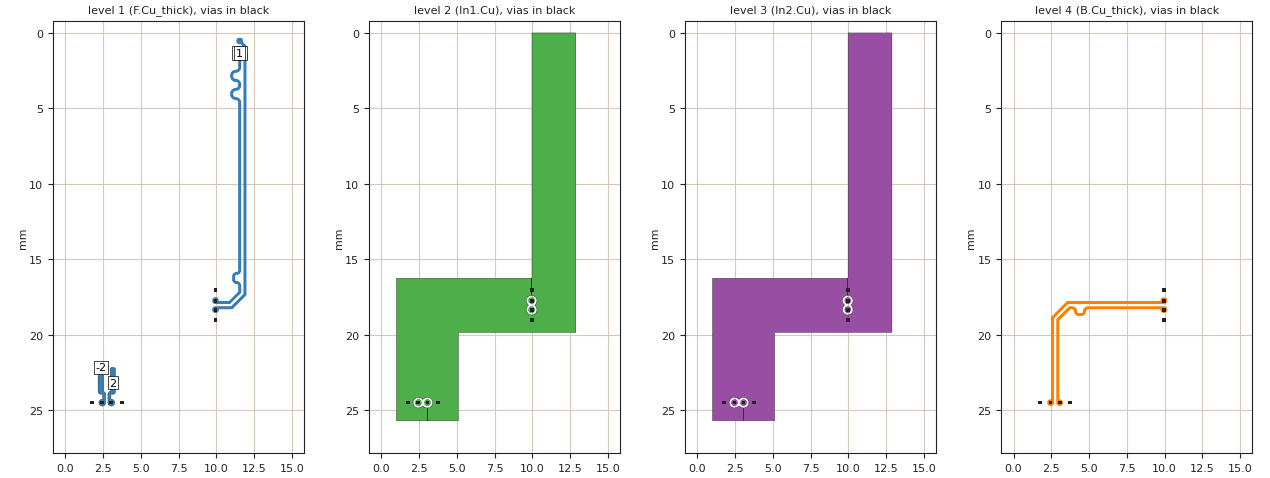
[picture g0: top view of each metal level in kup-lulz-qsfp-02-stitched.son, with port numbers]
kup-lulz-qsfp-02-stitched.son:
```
FTYP SONPROJ 19 ! Sonnet Project File
VER 18.56
HEADER
LIC antikernel2.1.52448
DAT 02/23/2024 10:11:04
BUILT_BY_CREATED dxf 18.56 02/22/2024 23:40:04
BUILT_BY_SAVED sonnet 18.56
MDATE 02/23/2024 10:11:04
HDATE 02/23/2024 10:11:04
ANN Created by dxfgeo, Sonnet Software Inc.
END HEADER
DIM
ANG DEG
CAP PF
CON /OH
FREQ GHZ
IND NH
LNG MM
RES OH
END DIM
CONTROL
VARSWP
OPTIONS  -dj
SPEED 1
CACHE_ABS 2
Q_ACC N
END CONTROL
GEO
TMET "Free Space" 0 FREESPACE 376.7303136 0 0 0
BMET "Free Space" 0 FREESPACE 376.7303136 0 0 0
MET "Copper_1oz+plated_thick_up" 1 TMM 58000000 0.5 0.0432 2
MET "Copper_1oz+plated_thin" 4 NOR 58000000 0.5 0.0432 
MET "Copper_0.5oz_thin" 2 NOR 58000000 0.5 0.0175 
MET "Copper_1oz+plated_thick_down" 3 TMM 58000000 0.5 0.0432 2 CDVY TDWN
BOX 6 15 27 1200 2160 20 0
      10 1 1 0 0 0 0 "Air"
      0.05 3.5 1 0.02 0 0 0 "Soldermask"
      0.2021 3.61 1 0.0092 0 0 0 "Isola_FR408HR"
      1.1938 3.61 1 0.0092 0 0 0 "Isola_FR408HR"
      0.2021 3.61 1 0.0092 0 0 0 "Isola_FR408HR"
      0.05 3.5 1 0.02 0 0 0 "Soldermask"
      10 1 1 0 0 0 0 "Air"
TECHLAY METAL F.Cu_thick L1D0 -1 -65534 CAD F.Cu drawing 
1 0 0 N 1844 1 1 100 100 0 0 0 Y
END
END
TECHLAY VIA Via1 L5D0 -7 -65534 CAD Via1 drawing 
VIA POLYGON
1 0 -1 N 2080 1 1 100 100 0 0 0 Y
TOLEVEL 4 RING NOCOVERS
END
END
TECHLAY METAL F.Cu_thin <UNSPECIFIED> -2 -65534 CAD F.Cu_thin drawing 
1 0 1 N 1848 1 1 100 100 0 0 0 Y
END
END
TECHLAY METAL In1.Cu L2D0 -3 -65534 CAD In1.Cu drawing 
2 0 2 N 1851 1 1 100 100 0 0 0 Y
END
END
TECHLAY METAL In2.Cu L3D0 -4 -65534 CAD In2.Cu drawing 
3 0 2 N 1854 1 1 100 100 0 0 0 Y
END
END
TECHLAY METAL B.Cu_thick L4D0 -5 -65534 CAD B.Cu drawing 
4 0 3 N 1857 1 1 100 100 0 0 0 Y
END
END
TECHLAY METAL B.Cu_thin <UNSPECIFIED> -6 -65534 CAD B.Cu_thin drawing 
4 0 1 N 1859 1 1 100 100 0 0 0 Y
END
END
LORGN 0 27 U 
POR1 CUP Auto
GNDREF AUTO
TERMW FEED
POLY 2018 1
346
-1 100 0 0 0 11.55 1.325 
CUPGRP "Auto" LOCAL
ID 2076
END
POR1 CUP Auto
GNDREF AUTO
TERMW FEED
POLY 2019 1
76
1 100 0 0 0 11.55 0.325 
CUPGRP "Auto" LOCAL
ID 2077
END
POR1 CUP Auto
GNDREF AUTO
TERMW FEED
POLY 2025 1
39
-2 100 0 0 0 2.35 22.15 
CUPGRP "Auto" LOCAL
ID 2078
END
POR1 CUP Auto
GNDREF AUTO
TERMW FEED
POLY 2026 1
52
2 100 0 0 0 3.15 22.15 
CUPGRP "Auto" LOCAL
ID 2079
END
NUM 24
1 726 0 N 2018 1 1 100 100 0 0 0 Y
TLAYNAM F.Cu_thick INH
10.893 17.9495
10.902 17.9475
10.912 17.9445
10.921 17.9415
10.929 17.9365
10.938 17.9305
10.945 17.9245
11.625 17.2455
11.631 17.2375
11.641 17.2215
11.641 17.2205
11.642 17.2175
11.644 17.2125
11.645 17.2115
11.648 17.2025
11.65 17.1925
11.65 16.7205
11.649 16.7115
11.644 16.6615
11.629 16.6145
11.626 16.6055
11.621 16.5975
11.615 16.5885
11.602 16.5635
11.596 16.5545
11.59 16.5475
11.583 16.5405
11.577 16.5325
11.576 16.5315
11.572 16.5245
11.565 16.5175
11.559 16.5105
11.558 16.5105
11.551 16.5045
11.536 16.4925
11.536 16.4915
11.529 16.4845
11.521 16.4785
11.513 16.4735
11.47 16.4495
11.461 16.4465
11.451 16.4435
11.447 16.4425
11.442 16.4415
11.432 16.4385
11.423 16.4355
11.413 16.4325
11.404 16.4305
11.394 16.4295
11.365 16.4265
11.355 16.4255
11.328 16.4225
11.315 16.4185
11.295 16.4075
11.278 16.3935
11.266 16.3785
11.26 16.3685
11.252 16.3445
11.25 16.3205
11.25 16.1305
11.253 16.1035
11.257 16.0905
11.268 16.0705
11.282 16.0535
11.297 16.0415
11.307 16.0355
11.331 16.0275
11.355 16.0255
11.365 16.0245
11.394 16.0215
11.414 16.0195
11.461 16.0045
11.47 16.0015
11.478 15.9965
11.487 15.9905
11.512 15.9775
11.521 15.9715
11.528 15.9655
11.535 15.9585
11.543 15.9525
11.544 15.9515
11.551 15.9475
11.558 15.9405
11.565 15.9345
11.565 15.9335
11.571 15.9265
11.583 15.9115
11.584 15.9115
11.591 15.9045
11.597 15.8965
11.602 15.8885
11.626 15.8455
11.629 15.8365
11.632 15.8265
11.633 15.8225
11.634 15.8175
11.637 15.8075
11.64 15.7985
11.643 15.7885
11.645 15.7795
11.646 15.7695
11.649 15.7405
11.65 15.7305
11.65 4.5945
11.649 4.5895
11.646 4.5565
11.645 4.5435
11.644 4.5415
11.644 4.5365
11.643 4.5345
11.642 4.5285
11.641 4.5245
11.64 4.5225
11.633 4.4985
11.633 4.4945
11.63 4.4845
11.627 4.4755
11.604 4.4245
11.599 4.4165
11.593 4.4085
11.592 4.4075
11.574 4.3825
11.573 4.3815
11.569 4.3745
11.563 4.3665
11.553 4.3565
11.531 4.3355
11.53 4.3345
11.525 4.3285
11.517 4.3215
11.471 4.2895
11.463 4.2845
11.454 4.2805
11.447 4.2785
11.444 4.2775
11.426 4.2685
11.425 4.2675
11.417 4.2645
11.416 4.2635
11.414 4.2625
11.405 4.2595
11.399 4.2585
11.367 4.2495
11.365 4.2485
11.353 4.2455
11.347 4.2445
11.343 4.2445
11.334 4.2435
11.3 4.2405
11.29 4.2395
11.253 4.2355
11.221 4.2265
11.193 4.2105
11.17 4.1915
11.152 4.1695
11.134 4.1375
11.126 4.1085
11.122 4.0705
11.122 4.0055
11.125 3.9745
11.133 3.9445
11.143 3.9235
11.16 3.8985
11.181 3.8775
11.201 3.8635
11.233 3.8495
11.257 3.8425
11.289 3.8395
11.29 3.8395
11.346 3.8345
11.348 3.8335
11.353 3.8335
11.355 3.8325
11.361 3.8315
11.365 3.8305
11.367 3.8295
11.391 3.8225
11.395 3.8225
11.405 3.8195
11.414 3.8165
11.465 3.7935
11.473 3.7885
11.481 3.7825
11.482 3.7815
11.507 3.7635
11.508 3.7625
11.515 3.7585
11.523 3.7525
11.533 3.7425
11.554 3.7205
11.555 3.7195
11.561 3.7145
11.568 3.7065
11.6 3.6605
11.605 3.6525
11.609 3.6435
11.611 3.6365
11.612 3.6335
11.621 3.6155
11.622 3.6145
11.625 3.6065
11.626 3.6055
11.627 3.6035
11.63 3.5945
11.631 3.5885
11.64 3.5565
11.641 3.5545
11.644 3.5425
11.645 3.5365
11.645 3.5325
11.646 3.5235
11.649 3.4905
11.65 3.4805
11.65 3.3945
11.649 3.3895
11.646 3.3565
11.645 3.3435
11.644 3.3415
11.644 3.3365
11.643 3.3345
11.642 3.3285
11.641 3.3245
11.64 3.3225
11.633 3.2985
11.633 3.2945
11.63 3.2845
11.627 3.2755
11.604 3.2245
11.599 3.2165
11.593 3.2085
11.592 3.2075
11.574 3.1825
11.573 3.1815
11.569 3.1745
11.563 3.1665
11.553 3.1565
11.531 3.1355
11.53 3.1345
11.525 3.1285
11.517 3.1215
11.471 3.0895
11.463 3.0845
11.454 3.0805
11.447 3.0785
11.444 3.0775
11.426 3.0685
11.425 3.0675
11.417 3.0645
11.416 3.0635
11.414 3.0625
11.405 3.0595
11.399 3.0585
11.367 3.0495
11.365 3.0485
11.353 3.0455
11.347 3.0445
11.343 3.0445
11.334 3.0435
11.3 3.0405
11.29 3.0395
11.253 3.0355
11.221 3.0265
11.193 3.0105
11.17 2.9915
11.152 2.9695
11.134 2.9375
11.126 2.9085
11.122 2.8705
11.122 2.8055
11.125 2.7745
11.133 2.7445
11.143 2.7235
11.16 2.6985
11.181 2.6775
11.201 2.6635
11.233 2.6495
11.257 2.6425
11.289 2.6395
11.29 2.6395
11.346 2.6345
11.348 2.6335
11.353 2.6335
11.355 2.6325
11.361 2.6315
11.365 2.6305
11.367 2.6295
11.391 2.6225
11.395 2.6225
11.405 2.6195
11.414 2.6165
11.465 2.5935
11.473 2.5885
11.481 2.5825
11.482 2.5815
11.507 2.5635
11.508 2.5625
11.515 2.5585
11.523 2.5525
11.533 2.5425
11.554 2.5205
11.555 2.5195
11.561 2.5145
11.568 2.5065
11.6 2.4605
11.605 2.4525
11.609 2.4435
11.611 2.4365
11.612 2.4335
11.621 2.4155
11.622 2.4145
11.625 2.4065
11.626 2.4055
11.627 2.4035
11.63 2.3945
11.631 2.3885
11.64 2.3565
11.641 2.3545
11.644 2.3425
11.645 2.3365
11.645 2.3325
11.646 2.3235
11.649 2.2905
11.65 2.2805
11.65 1.7265
11.666 1.7185
11.684 1.7065
11.701 1.6925
11.717 1.6765
11.731 1.6595
11.743 1.6415
11.753 1.6215
11.762 1.6015
11.768 1.5805
11.773 1.5585
11.775 1.5365
11.775 1.5145
11.773 1.4925
11.768 1.4705
11.762 1.4495
11.753 1.4295
11.743 1.4095
11.731 1.3915
11.717 1.3745
11.701 1.3585
11.684 1.3445
11.666 1.3325
11.651 1.325
11.449 1.325
11.434 1.3325
11.416 1.3445
11.399 1.3585
11.383 1.3745
11.369 1.3915
11.357 1.4095
11.347 1.4295
11.338 1.4495
11.332 1.4705
11.327 1.4925
11.325 1.5145
11.325 1.5365
11.327 1.5585
11.332 1.5805
11.338 1.6015
11.347 1.6215
11.357 1.6415
11.369 1.6595
11.383 1.6765
11.399 1.6925
11.416 1.7065
11.434 1.7185
11.45 1.7265
11.45 2.2725
11.447 2.3045
11.44 2.3285
11.426 2.3605
11.412 2.3805
11.391 2.4015
11.366 2.4185
11.345 2.4285
11.315 2.4365
11.284 2.4395
11.282 2.4395
11.273 2.4405
11.238 2.4435
11.229 2.4445
11.225 2.4445
11.219 2.4455
11.207 2.4485
11.205 2.4495
11.173 2.4585
11.167 2.4595
11.158 2.4625
11.156 2.4635
11.155 2.4645
11.147 2.4675
11.146 2.4685
11.128 2.4775
11.125 2.4785
11.118 2.4805
11.109 2.4845
11.101 2.4895
11.055 2.5215
11.047 2.5285
11.042 2.5345
11.041 2.5355
11.019 2.5565
11.009 2.5665
11.003 2.5745
10.999 2.5815
10.998 2.5825
10.98 2.6075
10.979 2.6085
10.973 2.6165
10.968 2.6245
10.945 2.6755
10.942 2.6845
10.939 2.6945
10.939 2.6985
10.932 2.7225
10.931 2.7245
10.93 2.7285
10.929 2.7345
10.928 2.7365
10.928 2.7415
10.927 2.7435
10.926 2.7565
10.923 2.7895
10.922 2.7945
10.922 2.8805
10.923 2.8905
10.927 2.9315
10.927 2.9325
10.928 2.9425
10.93 2.9515
10.948 3.0105
10.951 3.0195
10.956 3.0285
10.972 3.0565
10.973 3.0585
10.975 3.0655
10.98 3.0735
10.986 3.0825
10.992 3.0895
11.018 3.1215
11.019 3.1225
11.025 3.1295
11.032 3.1365
11.039 3.1425
11.041 3.1445
11.047 3.1485
11.072 3.1695
11.079 3.1755
11.088 3.1815
11.142 3.2105
11.151 3.2145
11.16 3.2175
11.166 3.2185
11.191 3.2255
11.198 3.2275
11.2 3.2285
11.21 3.2315
11.219 3.2335
11.281 3.2395
11.283 3.2395
11.315 3.2425
11.339 3.2495
11.371 3.2635
11.391 3.2775
11.412 3.2985
11.429 3.3235
11.439 3.3445
11.447 3.3745
11.45 3.4055
11.45 3.4725
11.447 3.5045
11.44 3.5285
11.426 3.5605
11.412 3.5805
11.391 3.6015
11.366 3.6185
11.345 3.6285
11.315 3.6365
11.284 3.6395
11.282 3.6395
11.273 3.6405
11.238 3.6435
11.229 3.6445
11.225 3.6445
11.219 3.6455
11.207 3.6485
11.205 3.6495
11.173 3.6585
11.167 3.6595
11.158 3.6625
11.156 3.6635
11.155 3.6645
11.147 3.6675
11.146 3.6685
11.128 3.6775
11.125 3.6785
11.118 3.6805
11.109 3.6845
11.101 3.6895
11.055 3.7215
11.047 3.7285
11.042 3.7345
11.041 3.7355
11.019 3.7565
11.009 3.7665
11.003 3.7745
10.999 3.7815
10.998 3.7825
10.98 3.8075
10.979 3.8085
10.973 3.8165
10.968 3.8245
10.945 3.8755
10.942 3.8845
10.939 3.8945
10.939 3.8985
10.932 3.9225
10.931 3.9245
10.93 3.9285
10.929 3.9345
10.928 3.9365
10.928 3.9415
10.927 3.9435
10.926 3.9565
10.923 3.9895
10.922 3.9945
10.922 4.0805
10.923 4.0905
10.927 4.1315
10.927 4.1325
10.928 4.1425
10.93 4.1515
10.948 4.2105
10.951 4.2195
10.956 4.2285
10.972 4.2565
10.973 4.2585
10.975 4.2655
10.98 4.2735
10.986 4.2825
10.992 4.2895
11.018 4.3215
11.019 4.3225
11.025 4.3295
11.032 4.3365
11.039 4.3425
11.041 4.3445
11.047 4.3485
11.072 4.3695
11.079 4.3755
11.088 4.3815
11.142 4.4105
11.151 4.4145
11.16 4.4175
11.166 4.4185
11.191 4.4255
11.198 4.4275
11.2 4.4285
11.21 4.4315
11.219 4.4335
11.281 4.4395
11.283 4.4395
11.315 4.4425
11.339 4.4495
11.371 4.4635
11.391 4.4775
11.412 4.4985
11.429 4.5235
11.439 4.5445
11.447 4.5745
11.45 4.6055
11.45 15.7205
11.448 15.7445
11.44 15.7685
11.434 15.7785
11.422 15.7935
11.405 15.8075
11.385 15.8185
11.372 15.8225
11.345 15.8255
11.335 15.8265
11.306 15.8295
11.296 15.8305
11.287 15.8325
11.277 15.8355
11.268 15.8385
11.258 15.8415
11.253 15.8425
11.249 15.8435
11.239 15.8465
11.23 15.8495
11.187 15.8735
11.179 15.8785
11.171 15.8845
11.164 15.8915
11.164 15.8925
11.149 15.9045
11.142 15.9105
11.141 15.9105
11.135 15.9175
11.128 15.9245
11.124 15.9315
11.123 15.9325
11.117 15.9405
11.11 15.9475
11.104 15.9545
11.098 15.9635
11.085 15.9885
11.079 15.9975
11.074 16.0055
11.071 16.0145
11.056 16.0615
11.054 16.0815
11.051 16.1105
11.05 16.1205
11.05 16.3305
11.051 16.3405
11.054 16.3695
11.055 16.3795
11.057 16.3885
11.06 16.3985
11.063 16.4075
11.066 16.4175
11.067 16.4225
11.068 16.4265
11.071 16.4365
11.074 16.4455
11.098 16.4885
11.103 16.4965
11.109 16.5045
11.116 16.5115
11.117 16.5115
11.129 16.5265
11.135 16.5335
11.135 16.5345
11.142 16.5405
11.149 16.5475
11.156 16.5515
11.157 16.5525
11.165 16.5585
11.172 16.5655
11.179 16.5715
11.188 16.5775
11.213 16.5905
11.222 16.5965
11.23 16.6015
11.239 16.6045
11.286 16.6195
11.306 16.6215
11.335 16.6245
11.345 16.6255
11.369 16.6275
11.393 16.6355
11.403 16.6415
11.418 16.6535
11.432 16.6705
11.443 16.6905
11.447 16.7035
11.45 16.7305
11.45 17.1365
10.837 17.7505
10.174 17.7505
10.175 17.7365
10.175 17.7145
10.173 17.6925
10.168 17.6705
10.162 17.6495
10.153 17.6295
10.143 17.6095
10.131 17.5915
10.117 17.5745
10.101 17.5585
10.084 17.5445
10.066 17.5325
10.046 17.5225
10.026 17.5135
10.005 17.5075
9.983 17.5025
9.961 17.5005
9.939 17.5005
9.917 17.5025
9.895 17.5075
9.874 17.5135
9.854 17.5225
9.834 17.5325
9.816 17.5445
9.799 17.5585
9.783 17.5745
9.769 17.5915
9.757 17.6095
9.747 17.6295
9.738 17.6495
9.732 17.6705
9.727 17.6925
9.725 17.7145
9.725 17.7365
9.727 17.7585
9.732 17.7805
9.738 17.8015
9.747 17.8215
9.757 17.8415
9.769 17.8595
9.783 17.8765
9.799 17.8925
9.816 17.9065
9.834 17.9185
9.854 17.9285
9.874 17.9375
9.895 17.9435
9.917 17.9485
9.939 17.9505
9.961 17.9505
9.983 17.9485
10.005 17.9435
10.026 17.9375
10.032 17.9415
10.041 17.9445
10.051 17.9475
10.06 17.9495
10.07 17.9505
10.883 17.9505
10.893 17.9495
END
1 173 0 N 2019 1 1 100 100 0 0 0 Y
TLAYNAM F.Cu_thick INH
9.983 18.5485
10.005 18.5435
10.026 18.5375
10.046 18.5285
10.066 18.5185
10.084 18.5065
10.101 18.4925
10.117 18.4765
10.131 18.4595
10.143 18.4415
10.153 18.4215
10.162 18.4015
10.168 18.3805
10.173 18.3585
10.175 18.3365
10.175 18.3145
10.174 18.3005
11.027 18.3005
11.037 18.2995
11.047 18.2975
11.065 18.2915
11.073 18.2865
11.082 18.2805
11.09 18.2745
11.974 17.3895
11.98 17.3825
11.986 17.3745
11.991 17.3655
11.994 17.3565
11.997 17.3465
11.999 17.3375
12 17.3275
12 1.8525
12.06 1.7925
12.067 1.7865
12.074 1.7795
12.074 1.7785
12.08 1.7715
12.086 1.7635
12.091 1.7555
12.094 1.7465
12.097 1.7365
12.099 1.7265
12.1 1.7175
12.1 1.3345
12.099 1.3245
12.097 1.3155
12.094 1.3055
12.091 1.2965
12.086 1.2885
12.08 1.2795
12.074 1.2725
12 1.1985
12 0.8705
11.999 0.8605
11.997 0.8515
11.994 0.8415
11.991 0.8325
11.986 0.8245
11.98 0.8155
11.974 0.8085
11.763 0.5975
11.768 0.5805
11.773 0.5585
11.775 0.5365
11.775 0.5145
11.773 0.4925
11.768 0.4705
11.762 0.4495
11.753 0.4295
11.743 0.4095
11.731 0.3915
11.717 0.3745
11.701 0.3585
11.684 0.3445
11.666 0.3325
11.651 0.325
11.449 0.325
11.434 0.3325
11.416 0.3445
11.399 0.3585
11.383 0.3745
11.369 0.3915
11.357 0.4095
11.347 0.4295
11.338 0.4495
11.332 0.4705
11.327 0.4925
11.325 0.5145
11.325 0.5365
11.327 0.5585
11.332 0.5805
11.338 0.6015
11.347 0.6215
11.357 0.6415
11.369 0.6595
11.383 0.6765
11.399 0.6925
11.416 0.7065
11.434 0.7185
11.454 0.7285
11.474 0.7375
11.495 0.7435
11.517 0.7485
11.539 0.7505
11.561 0.7505
11.583 0.7485
11.605 0.7435
11.622 0.7385
11.8 0.9165
11.8 1.2445
11.801 1.2545
11.803 1.2635
11.806 1.2735
11.809 1.2825
11.814 1.2905
11.82 1.2995
11.826 1.3065
11.9 1.3805
11.9 1.6705
11.826 1.7445
11.82 1.7515
11.814 1.7605
11.809 1.7685
11.806 1.7775
11.803 1.7875
11.801 1.7965
11.8 1.8065
11.8 17.2815
10.98 18.1005
10.07 18.1005
10.06 18.1015
10.05 18.1035
10.032 18.1095
10.026 18.1135
10.025 18.1135
10.005 18.1075
9.983 18.1025
9.961 18.1005
9.939 18.1005
9.917 18.1025
9.895 18.1075
9.874 18.1135
9.854 18.1225
9.834 18.1325
9.816 18.1445
9.799 18.1585
9.783 18.1745
9.769 18.1915
9.757 18.2095
9.747 18.2295
9.738 18.2495
9.732 18.2705
9.727 18.2925
9.725 18.3145
9.725 18.3365
9.727 18.3585
9.732 18.3805
9.738 18.4015
9.747 18.4215
9.757 18.4415
9.769 18.4595
9.783 18.4765
9.799 18.4925
9.816 18.5065
9.834 18.5185
9.854 18.5285
9.874 18.5375
9.895 18.5435
9.917 18.5485
9.939 18.5505
9.961 18.5505
9.983 18.5485
END
1 96 0 N 2025 1 1 100 100 0 0 0 Y
TLAYNAM F.Cu_thick INH
2.483 24.7045
2.505 24.6995
2.526 24.6935
2.546 24.6845
2.566 24.6745
2.584 24.6625
2.601 24.6485
2.617 24.6325
2.631 24.6155
2.643 24.5975
2.653 24.5775
2.662 24.5575
2.668 24.5365
2.673 24.5145
2.675 24.4925
2.675 24.4705
2.673 24.4485
2.668 24.4265
2.662 24.4055
2.666 24.3995
2.669 24.3905
2.672 24.3805
2.674 24.3715
2.675 24.3615
2.675 23.8955
2.674 23.8855
2.672 23.8765
2.669 23.8665
2.666 23.8575
2.661 23.8495
2.655 23.8405
2.649 23.8335
2.525 23.7095
2.525 22.3005
2.522 22.2665
2.512 22.2335
2.496 22.2035
2.474 22.1765
2.447 22.1545
2.4385625 22.15
2.2614375 22.15
2.253 22.1545
2.226 22.1765
2.204 22.2035
2.188 22.2335
2.178 22.2665
2.175 22.3005
2.175 23.7505
2.178 23.7845
2.188 23.8175
2.204 23.8475
2.226 23.8745
2.253 23.8965
2.283 23.9125
2.316 23.9225
2.35 23.9255
2.384 23.9225
2.417 23.9125
2.436 23.9025
2.475 23.9415
2.475 24.2575
2.461 24.2565
2.439 24.2565
2.417 24.2585
2.395 24.2635
2.374 24.2695
2.354 24.2785
2.334 24.2885
2.316 24.3005
2.299 24.3145
2.283 24.3305
2.269 24.3475
2.257 24.3655
2.247 24.3855
2.238 24.4055
2.232 24.4265
2.227 24.4485
2.225 24.4705
2.225 24.4925
2.227 24.5145
2.232 24.5365
2.238 24.5575
2.247 24.5775
2.257 24.5975
2.269 24.6155
2.283 24.6325
2.299 24.6485
2.316 24.6625
2.334 24.6745
2.354 24.6845
2.374 24.6935
2.395 24.6995
2.417 24.7045
2.439 24.7065
2.461 24.7065
2.483 24.7045
END
1 96 0 N 2026 1 1 100 100 0 0 0 Y
TLAYNAM F.Cu_thick INH
3.083 24.7045
3.105 24.6995
3.126 24.6935
3.146 24.6845
3.166 24.6745
3.184 24.6625
3.201 24.6485
3.217 24.6325
3.231 24.6155
3.243 24.5975
3.253 24.5775
3.262 24.5575
3.268 24.5365
3.273 24.5145
3.275 24.4925
3.275 24.4705
3.273 24.4485
3.268 24.4265
3.262 24.4055
3.253 24.3855
3.243 24.3655
3.231 24.3475
3.217 24.3305
3.201 24.3145
3.184 24.3005
3.166 24.2885
3.146 24.2785
3.126 24.2695
3.105 24.2635
3.083 24.2585
3.061 24.2565
3.039 24.2565
3.025 24.2575
3.025 23.9415
3.064 23.9025
3.083 23.9125
3.116 23.9225
3.15 23.9255
3.184 23.9225
3.217 23.9125
3.247 23.8965
3.274 23.8745
3.296 23.8475
3.312 23.8175
3.322 23.7845
3.325 23.7505
3.325 22.3005
3.322 22.2665
3.312 22.2335
3.296 22.2035
3.274 22.1765
3.247 22.1545
3.2385625 22.15
3.0614375 22.15
3.053 22.1545
3.026 22.1765
3.004 22.2035
2.988 22.2335
2.978 22.2665
2.975 22.3005
2.975 23.7095
2.851 23.8335
2.845 23.8405
2.839 23.8495
2.834 23.8575
2.831 23.8665
2.828 23.8765
2.826 23.8855
2.825 23.8955
2.825 24.3615
2.826 24.3715
2.828 24.3805
2.831 24.3905
2.834 24.3995
2.838 24.4055
2.832 24.4265
2.827 24.4485
2.825 24.4705
2.825 24.4925
2.827 24.5145
2.832 24.5365
2.838 24.5575
2.847 24.5775
2.857 24.5975
2.869 24.6155
2.883 24.6325
2.899 24.6485
2.916 24.6625
2.934 24.6745
2.954 24.6845
2.974 24.6935
2.995 24.6995
3.017 24.7045
3.039 24.7065
3.061 24.7065
3.083 24.7045
END
VIA POLYGON
1 5 -1 N 1578 1 1 100 100 0 0 0 Y
TOLEVEL 4 RING NOCOVERS
TLAYNAM Via1 INH
9.825 18.4505
9.825 18.2005
10.075 18.2005
10.075 18.4505
9.825 18.4505
END
VIA POLYGON
1 5 -1 N 1580 1 1 100 100 0 0 0 Y
TOLEVEL 4 RING NOCOVERS
TLAYNAM Via1 INH
9.825 17.8505
9.825 17.6005
10.075 17.6005
10.075 17.8505
9.825 17.8505
END
VIA POLYGON
1 5 -1 N 2006 1 1 100 100 0 0 0 Y
TOLEVEL 4 RING NOCOVERS
TLAYNAM Via1 INH
2.925 24.6005
2.925 24.3505
3.175 24.3505
3.175 24.6005
2.925 24.6005
END
VIA POLYGON
1 5 -1 N 2007 1 1 100 100 0 0 0 Y
TOLEVEL 4 RING NOCOVERS
TLAYNAM Via1 INH
2.325 24.6005
2.325 24.3505
2.575 24.3505
2.575 24.6005
2.325 24.6005
END
VIA POLYGON
1 5 -1 N 2098 1 1 100 100 0 0 0 Y
TOLEVEL 4 RING NOCOVERS
TLAYNAM Via1 INH
9.825 17.1505
9.825 16.9005
10.075 16.9005
10.075 17.1505
9.825 17.1505
END
VIA POLYGON
1 5 -1 N 2099 1 1 100 100 0 0 0 Y
TOLEVEL 4 RING NOCOVERS
TLAYNAM Via1 INH
9.825 19.1505
9.825 18.9005
10.075 18.9005
10.075 19.1505
9.825 19.1505
END
VIA POLYGON
1 5 -1 N 2100 1 1 100 100 0 0 0 Y
TOLEVEL 4 RING NOCOVERS
TLAYNAM Via1 INH
1.625 24.6005
1.625 24.3505
1.875 24.3505
1.875 24.6005
1.625 24.6005
END
VIA POLYGON
1 5 -1 N 2101 1 1 100 100 0 0 0 Y
TOLEVEL 4 RING NOCOVERS
TLAYNAM Via1 INH
3.625 24.6005
3.625 24.3505
3.875 24.3505
3.875 24.6005
3.625 24.6005
END
2 65 2 N 623 1 1 100 100 0 0 0 Y
TLAYNAM In1.Cu INH
9.939 18.5505
9.917 18.5485
9.895 18.5435
9.874 18.5375
9.854 18.5285
9.834 18.5185
9.816 18.5065
9.799 18.4925
9.783 18.4765
9.769 18.4595
9.757 18.4415
9.747 18.4215
9.738 18.4015
9.732 18.3805
9.727 18.3585
9.725 18.3365
9.725 18.3145
9.727 18.2925
9.732 18.2705
9.738 18.2495
9.747 18.2295
9.757 18.2095
9.769 18.1915
9.783 18.1745
9.799 18.1585
9.816 18.1445
9.834 18.1325
9.854 18.1225
9.874 18.1135
9.895 18.1075
9.917 18.1025
9.939 18.1005
9.961 18.1005
9.983 18.1025
10.005 18.1075
10.026 18.1135
10.046 18.1225
10.066 18.1325
10.084 18.1445
10.101 18.1585
10.117 18.1745
10.131 18.1915
10.143 18.2095
10.153 18.2295
10.162 18.2495
10.168 18.2705
10.173 18.2925
10.175 18.3145
10.175 18.3365
10.173 18.3585
10.168 18.3805
10.162 18.4015
10.153 18.4215
10.143 18.4415
10.131 18.4595
10.117 18.4765
10.101 18.4925
10.084 18.5065
10.066 18.5185
10.046 18.5285
10.026 18.5375
10.005 18.5435
9.983 18.5485
9.961 18.5505
9.939 18.5505
END
2 65 2 N 625 1 1 100 100 0 0 0 Y
TLAYNAM In1.Cu INH
9.939 17.9505
9.917 17.9485
9.895 17.9435
9.874 17.9375
9.854 17.9285
9.834 17.9185
9.816 17.9065
9.799 17.8925
9.783 17.8765
9.769 17.8595
9.757 17.8415
9.747 17.8215
9.738 17.8015
9.732 17.7805
9.727 17.7585
9.725 17.7365
9.725 17.7145
9.727 17.6925
9.732 17.6705
9.738 17.6495
9.747 17.6295
9.757 17.6095
9.769 17.5915
9.783 17.5745
9.799 17.5585
9.816 17.5445
9.834 17.5325
9.854 17.5225
9.874 17.5135
9.895 17.5075
9.917 17.5025
9.939 17.5005
9.961 17.5005
9.983 17.5025
10.005 17.5075
10.026 17.5135
10.046 17.5225
10.066 17.5325
10.084 17.5445
10.101 17.5585
10.117 17.5745
10.131 17.5915
10.143 17.6095
10.153 17.6295
10.162 17.6495
10.168 17.6705
10.173 17.6925
10.175 17.7145
10.175 17.7365
10.173 17.7585
10.168 17.7805
10.162 17.8015
10.153 17.8215
10.143 17.8415
10.131 17.8595
10.117 17.8765
10.101 17.8925
10.084 17.9065
10.066 17.9185
10.046 17.9285
10.026 17.9375
10.005 17.9435
9.983 17.9485
9.961 17.9505
9.939 17.9505
END
2 65 2 N 2008 1 1 100 100 0 0 0 Y
TLAYNAM In1.Cu INH
3.039 24.7065
3.017 24.7045
2.995 24.6995
2.974 24.6935
2.954 24.6845
2.934 24.6745
2.916 24.6625
2.899 24.6485
2.883 24.6325
2.869 24.6155
2.857 24.5975
2.847 24.5775
2.838 24.5575
2.832 24.5365
2.827 24.5145
2.825 24.4925
2.825 24.4705
2.827 24.4485
2.832 24.4265
2.838 24.4055
2.847 24.3855
2.857 24.3655
2.869 24.3475
2.883 24.3305
2.899 24.3145
2.916 24.3005
2.934 24.2885
2.954 24.2785
2.974 24.2695
2.995 24.2635
3.017 24.2585
3.039 24.2565
3.061 24.2565
3.083 24.2585
3.105 24.2635
3.126 24.2695
3.146 24.2785
3.166 24.2885
3.184 24.3005
3.201 24.3145
3.217 24.3305
3.231 24.3475
3.243 24.3655
3.253 24.3855
3.262 24.4055
3.268 24.4265
3.273 24.4485
3.275 24.4705
3.275 24.4925
3.273 24.5145
3.268 24.5365
3.262 24.5575
3.253 24.5775
3.243 24.5975
3.231 24.6155
3.217 24.6325
3.201 24.6485
3.184 24.6625
3.166 24.6745
3.146 24.6845
3.126 24.6935
3.105 24.6995
3.083 24.7045
3.061 24.7065
3.039 24.7065
END
2 65 2 N 2009 1 1 100 100 0 0 0 Y
TLAYNAM In1.Cu INH
2.439 24.7065
2.417 24.7045
2.395 24.6995
2.374 24.6935
2.354 24.6845
2.334 24.6745
2.316 24.6625
2.299 24.6485
2.283 24.6325
2.269 24.6155
2.257 24.5975
2.247 24.5775
2.238 24.5575
2.232 24.5365
2.227 24.5145
2.225 24.4925
2.225 24.4705
2.227 24.4485
2.232 24.4265
2.238 24.4055
2.247 24.3855
2.257 24.3655
2.269 24.3475
2.283 24.3305
2.299 24.3145
2.316 24.3005
2.334 24.2885
2.354 24.2785
2.374 24.2695
2.395 24.2635
2.417 24.2585
2.439 24.2565
2.461 24.2565
2.483 24.2585
2.505 24.2635
2.526 24.2695
2.546 24.2785
2.566 24.2885
2.584 24.3005
2.601 24.3145
2.617 24.3305
2.631 24.3475
2.643 24.3655
2.653 24.3855
2.662 24.4055
2.668 24.4265
2.673 24.4485
2.675 24.4705
2.675 24.4925
2.673 24.5145
2.668 24.5365
2.662 24.5575
2.653 24.5775
2.643 24.5975
2.631 24.6155
2.617 24.6325
2.601 24.6485
2.584 24.6625
2.566 24.6745
2.546 24.6845
2.526 24.6935
2.505 24.6995
2.483 24.7045
2.461 24.7065
2.439 24.7065
END
2 89 2 N 2097 1 1 100 100 0 0 0 Y
TLAYNAM In1.Cu INH
5.1 24.4815
5.1 19.825
12.875 19.825
12.875 0
9.975 0
9.975 16.25
9.95 16.25
9.95 17.3705
10.06 17.3885
10.159 17.4385
10.237 17.5165
10.288 17.6155
10.305 17.7255
10.288 17.8355
10.237 17.9345
10.189 17.9825
10.171 18.0255
10.189 18.0685
10.237 18.1165
10.288 18.2155
10.305 18.3255
10.288 18.4355
10.237 18.5345
10.159 18.6125
10.06 18.6635
9.95 18.6805
9.84 18.6635
9.741 18.6125
9.663 18.5345
9.613 18.4355
9.595 18.3255
9.613 18.2155
9.663 18.1165
9.711 18.0685
9.729 18.0255
9.711 17.9825
9.663 17.9345
9.613 17.8355
9.595 17.7255
9.613 17.6155
9.663 17.5165
9.741 17.4385
9.84 17.3885
9.95 17.3705
9.95 16.25
1 16.25
1 24.4815
1 25.675
3.05 25.675
3.05 24.8365
2.94 24.8185
2.841 24.7685
2.793 24.7205
2.75 24.7025
2.707 24.7205
2.659 24.7685
2.56 24.8185
2.45 24.8365
2.34 24.8185
2.241 24.7685
2.163 24.6905
2.113 24.5915
2.095 24.4815
2.113 24.3715
2.163 24.2725
2.241 24.1945
2.34 24.1435
2.45 24.1265
2.56 24.1435
2.659 24.1945
2.707 24.2425
2.75 24.2605
2.793 24.2425
2.841 24.1945
2.94 24.1435
3.05 24.1265
3.16 24.1435
3.259 24.1945
3.337 24.2725
3.388 24.3715
3.405 24.4815
3.388 24.5915
3.337 24.6905
3.259 24.7685
3.16 24.8185
3.05 24.8365
3.05 25.675
5.1 25.675
5.1 24.4815
END
3 65 2 N 767 1 1 100 100 0 0 0 Y
TLAYNAM In2.Cu INH
2.439 24.7065
2.417 24.7045
2.395 24.6995
2.374 24.6935
2.354 24.6845
2.334 24.6745
2.316 24.6625
2.299 24.6485
2.283 24.6325
2.269 24.6155
2.257 24.5975
2.247 24.5775
2.238 24.5575
2.232 24.5365
2.227 24.5145
2.225 24.4925
2.225 24.4705
2.227 24.4485
2.232 24.4265
2.238 24.4055
2.247 24.3855
2.257 24.3655
2.269 24.3475
2.283 24.3305
2.299 24.3145
2.316 24.3005
2.334 24.2885
2.354 24.2785
2.374 24.2695
2.395 24.2635
2.417 24.2585
2.439 24.2565
2.461 24.2565
2.483 24.2585
2.505 24.2635
2.526 24.2695
2.546 24.2785
2.566 24.2885
2.584 24.3005
2.601 24.3145
2.617 24.3305
2.631 24.3475
2.643 24.3655
2.653 24.3855
2.662 24.4055
2.668 24.4265
2.673 24.4485
2.675 24.4705
2.675 24.4925
2.673 24.5145
2.668 24.5365
2.662 24.5575
2.653 24.5775
2.643 24.5975
2.631 24.6155
2.617 24.6325
2.601 24.6485
2.584 24.6625
2.566 24.6745
2.546 24.6845
2.526 24.6935
2.505 24.6995
2.483 24.7045
2.461 24.7065
2.439 24.7065
END
3 65 2 N 768 1 1 100 100 0 0 0 Y
TLAYNAM In2.Cu INH
3.039 24.7065
3.017 24.7045
2.995 24.6995
2.974 24.6935
2.954 24.6845
2.934 24.6745
2.916 24.6625
2.899 24.6485
2.883 24.6325
2.869 24.6155
2.857 24.5975
2.847 24.5775
2.838 24.5575
2.832 24.5365
2.827 24.5145
2.825 24.4925
2.825 24.4705
2.827 24.4485
2.832 24.4265
2.838 24.4055
2.847 24.3855
2.857 24.3655
2.869 24.3475
2.883 24.3305
2.899 24.3145
2.916 24.3005
2.934 24.2885
2.954 24.2785
2.974 24.2695
2.995 24.2635
3.017 24.2585
3.039 24.2565
3.061 24.2565
3.083 24.2585
3.105 24.2635
3.126 24.2695
3.146 24.2785
3.166 24.2885
3.184 24.3005
3.201 24.3145
3.217 24.3305
3.231 24.3475
3.243 24.3655
3.253 24.3855
3.262 24.4055
3.268 24.4265
3.273 24.4485
3.275 24.4705
3.275 24.4925
3.273 24.5145
3.268 24.5365
3.262 24.5575
3.253 24.5775
3.243 24.5975
3.231 24.6155
3.217 24.6325
3.201 24.6485
3.184 24.6625
3.166 24.6745
3.146 24.6845
3.126 24.6935
3.105 24.6995
3.083 24.7045
3.061 24.7065
3.039 24.7065
END
3 65 2 N 783 1 1 100 100 0 0 0 Y
TLAYNAM In2.Cu INH
9.939 18.5505
9.917 18.5485
9.895 18.5435
9.874 18.5375
9.854 18.5285
9.834 18.5185
9.816 18.5065
9.799 18.4925
9.783 18.4765
9.769 18.4595
9.757 18.4415
9.747 18.4215
9.738 18.4015
9.732 18.3805
9.727 18.3585
9.725 18.3365
9.725 18.3145
9.727 18.2925
9.732 18.2705
9.738 18.2495
9.747 18.2295
9.757 18.2095
9.769 18.1915
9.783 18.1745
9.799 18.1585
9.816 18.1445
9.834 18.1325
9.854 18.1225
9.874 18.1135
9.895 18.1075
9.917 18.1025
9.939 18.1005
9.961 18.1005
9.983 18.1025
10.005 18.1075
10.026 18.1135
10.046 18.1225
10.066 18.1325
10.084 18.1445
10.101 18.1585
10.117 18.1745
10.131 18.1915
10.143 18.2095
10.153 18.2295
10.162 18.2495
10.168 18.2705
10.173 18.2925
10.175 18.3145
10.175 18.3365
10.173 18.3585
10.168 18.3805
10.162 18.4015
10.153 18.4215
10.143 18.4415
10.131 18.4595
10.117 18.4765
10.101 18.4925
10.084 18.5065
10.066 18.5185
10.046 18.5285
10.026 18.5375
10.005 18.5435
9.983 18.5485
9.961 18.5505
9.939 18.5505
END
3 65 2 N 785 1 1 100 100 0 0 0 Y
TLAYNAM In2.Cu INH
9.939 17.9505
9.917 17.9485
9.895 17.9435
9.874 17.9375
9.854 17.9285
9.834 17.9185
9.816 17.9065
9.799 17.8925
9.783 17.8765
9.769 17.8595
9.757 17.8415
9.747 17.8215
9.738 17.8015
9.732 17.7805
9.727 17.7585
9.725 17.7365
9.725 17.7145
9.727 17.6925
9.732 17.6705
9.738 17.6495
9.747 17.6295
9.757 17.6095
9.769 17.5915
9.783 17.5745
9.799 17.5585
9.816 17.5445
9.834 17.5325
9.854 17.5225
9.874 17.5135
9.895 17.5075
9.917 17.5025
9.939 17.5005
9.961 17.5005
9.983 17.5025
10.005 17.5075
10.026 17.5135
10.046 17.5225
10.066 17.5325
10.084 17.5445
10.101 17.5585
10.117 17.5745
10.131 17.5915
10.143 17.6095
10.153 17.6295
10.162 17.6495
10.168 17.6705
10.173 17.6925
10.175 17.7145
10.175 17.7365
10.173 17.7585
10.168 17.7805
10.162 17.8015
10.153 17.8215
10.143 17.8415
10.131 17.8595
10.117 17.8765
10.101 17.8925
10.084 17.9065
10.066 17.9185
10.046 17.9285
10.026 17.9375
10.005 17.9435
9.983 17.9485
9.961 17.9505
9.939 17.9505
END
3 89 2 N 2095 1 1 100 100 0 0 0 Y
TLAYNAM In2.Cu INH
5.1 24.4815
5.1 19.825
12.875 19.825
12.875 0
9.975 0
9.975 16.25
9.95 16.25
9.95 17.3705
10.06 17.3885
10.159 17.4385
10.237 17.5165
10.288 17.6155
10.305 17.7255
10.288 17.8355
10.237 17.9345
10.189 17.9825
10.171 18.0255
10.189 18.0685
10.237 18.1165
10.288 18.2155
10.305 18.3255
10.288 18.4355
10.237 18.5345
10.159 18.6125
10.06 18.6635
9.95 18.6805
9.84 18.6635
9.741 18.6125
9.663 18.5345
9.613 18.4355
9.595 18.3255
9.613 18.2155
9.663 18.1165
9.711 18.0685
9.729 18.0255
9.711 17.9825
9.663 17.9345
9.613 17.8355
9.595 17.7255
9.613 17.6155
9.663 17.5165
9.741 17.4385
9.84 17.3885
9.95 17.3705
9.95 16.25
1 16.25
1 24.4815
1 25.675
3.05 25.675
3.05 24.8365
2.94 24.8185
2.841 24.7685
2.793 24.7205
2.75 24.7025
2.707 24.7205
2.659 24.7685
2.56 24.8185
2.45 24.8365
2.34 24.8185
2.241 24.7685
2.163 24.6905
2.113 24.5915
2.095 24.4815
2.113 24.3715
2.163 24.2725
2.241 24.1945
2.34 24.1435
2.45 24.1265
2.56 24.1435
2.659 24.1945
2.707 24.2425
2.75 24.2605
2.793 24.2425
2.841 24.1945
2.94 24.1435
3.05 24.1265
3.16 24.1435
3.259 24.1945
3.337 24.2725
3.388 24.3715
3.405 24.4815
3.388 24.5915
3.337 24.6905
3.259 24.7685
3.16 24.8185
3.05 24.8365
3.05 25.675
5.1 25.675
5.1 24.4815
END
4 334 3 N 1173 1 1 100 100 0 0 0 Y
TLAYNAM B.Cu_thick INH
3.039 24.7065
3.017 24.7045
2.995 24.6995
2.974 24.6935
2.954 24.6845
2.934 24.6745
2.916 24.6625
2.899 24.6485
2.883 24.6325
2.869 24.6155
2.857 24.5975
2.847 24.5775
2.838 24.5575
2.832 24.5365
2.827 24.5145
2.825 24.4925
2.825 24.4705
2.827 24.4485
2.832 24.4265
2.838 24.4055
2.834 24.3995
2.831 24.3905
2.828 24.3805
2.826 24.3715
2.825 24.3615
2.825 18.9925
2.826 18.9825
2.828 18.9735
2.831 18.9635
2.834 18.9545
2.839 18.9465
2.845 18.9375
2.851 18.9305
3.655 18.1255
3.663 18.1195
3.679 18.1095
3.68 18.1095
3.683 18.1085
3.688 18.1065
3.689 18.1055
3.698 18.1025
3.708 18.1005
3.88 18.1005
3.889 18.1015
3.923 18.1045
3.928 18.1045
3.933 18.1055
3.934 18.1055
3.943 18.1075
3.953 18.1105
3.956 18.1115
3.995 18.1235
4.004 18.1265
4.012 18.1315
4.014 18.1325
4.043 18.1485
4.051 18.1525
4.06 18.1585
4.067 18.1645
4.09 18.1835
4.094 18.1855
4.108 18.1995
4.114 18.2065
4.115 18.2075
4.137 18.2345
4.143 18.2405
4.148 18.2495
4.153 18.2575
4.154 18.2605
4.164 18.2795
4.169 18.2875
4.174 18.2965
4.177 18.3055
4.18 18.3155
4.19 18.3465
4.19 18.3475
4.193 18.3575
4.195 18.3665
4.196 18.3765
4.196 18.3775
4.199 18.4105
4.2 18.4205
4.2 18.4215
4.203 18.4505
4.209 18.4715
4.223 18.4965
4.237 18.5135
4.256 18.5295
4.278 18.5415
4.3 18.5475
4.329 18.5505
4.471 18.5505
4.5 18.5475
4.521 18.5415
4.546 18.5275
4.563 18.5135
4.579 18.4945
4.591 18.4725
4.597 18.4505
4.6 18.4215
4.6 18.4205
4.601 18.4105
4.604 18.3775
4.604 18.3725
4.605 18.3675
4.605 18.3665
4.607 18.3575
4.61 18.3475
4.611 18.3445
4.623 18.3055
4.626 18.2965
4.631 18.2885
4.632 18.2865
4.648 18.2575
4.652 18.2495
4.658 18.2405
4.664 18.2335
4.683 18.2105
4.685 18.2065
4.699 18.1925
4.706 18.1865
4.707 18.1855
4.734 18.1635
4.74 18.1575
4.749 18.1525
4.757 18.1475
4.76 18.1465
4.779 18.1365
4.787 18.1315
4.796 18.1265
4.805 18.1235
4.815 18.1205
4.846 18.1105
4.847 18.1105
4.857 18.1075
4.866 18.1055
4.876 18.1045
4.877 18.1045
4.91 18.1015
4.92 18.1005
9.83 18.1005
9.84 18.1015
9.849 18.1035
9.859 18.1065
9.868 18.1095
9.874 18.1135
9.895 18.1075
9.917 18.1025
9.939 18.1005
9.961 18.1005
9.983 18.1025
10.005 18.1075
10.026 18.1135
10.046 18.1225
10.066 18.1325
10.084 18.1445
10.101 18.1585
10.117 18.1745
10.131 18.1915
10.143 18.2095
10.153 18.2295
10.162 18.2495
10.168 18.2705
10.173 18.2925
10.175 18.3145
10.175 18.3365
10.173 18.3585
10.168 18.3805
10.162 18.4015
10.153 18.4215
10.143 18.4415
10.131 18.4595
10.117 18.4765
10.101 18.4925
10.084 18.5065
10.066 18.5185
10.046 18.5285
10.026 18.5375
10.005 18.5435
9.983 18.5485
9.961 18.5505
9.939 18.5505
9.917 18.5485
9.895 18.5435
9.874 18.5375
9.854 18.5285
9.834 18.5185
9.816 18.5065
9.799 18.4925
9.783 18.4765
9.769 18.4595
9.757 18.4415
9.747 18.4215
9.738 18.4015
9.732 18.3805
9.727 18.3585
9.725 18.3365
9.725 18.3145
9.726 18.3005
4.929 18.3005
4.9 18.3035
4.878 18.3095
4.856 18.3215
4.837 18.3375
4.823 18.3545
4.809 18.3795
4.803 18.4005
4.8 18.4295
4.8 18.4305
4.799 18.4405
4.796 18.4735
4.796 18.4745
4.795 18.4845
4.793 18.4935
4.79 18.5035
4.79 18.5045
4.78 18.5355
4.777 18.5455
4.774 18.5545
4.769 18.5635
4.764 18.5715
4.754 18.5905
4.753 18.5935
4.748 18.6015
4.743 18.6105
4.737 18.6165
4.715 18.6435
4.714 18.6445
4.708 18.6515
4.694 18.6655
4.69 18.6675
4.667 18.6865
4.66 18.6925
4.651 18.6985
4.643 18.7025
4.614 18.7185
4.612 18.7195
4.604 18.7245
4.595 18.7275
4.556 18.7395
4.553 18.7405
4.543 18.7435
4.534 18.7455
4.533 18.7455
4.528 18.7465
4.523 18.7465
4.49 18.7495
4.48 18.7505
4.32 18.7505
4.31 18.7495
4.277 18.7465
4.276 18.7465
4.266 18.7455
4.257 18.7435
4.247 18.7405
4.246 18.7405
4.215 18.7305
4.205 18.7275
4.196 18.7245
4.187 18.7195
4.179 18.7145
4.16 18.7045
4.157 18.7035
4.149 18.6985
4.14 18.6935
4.134 18.6875
4.107 18.6655
4.106 18.6645
4.099 18.6585
4.085 18.6445
4.083 18.6405
4.064 18.6175
4.058 18.6105
4.052 18.6015
4.048 18.5935
4.032 18.5645
4.031 18.5625
4.026 18.5545
4.023 18.5455
4.011 18.5065
4.01 18.5035
4.007 18.4935
4.005 18.4845
4.005 18.4835
4.004 18.4785
4.004 18.4735
4.001 18.4405
4 18.4305
4 18.4295
3.997 18.4005
3.991 18.3785
3.979 18.3565
3.963 18.3375
3.946 18.3235
3.921 18.3095
3.9 18.3035
3.871 18.3005
3.764 18.3005
3.025 19.0385
3.025 24.2575
3.039 24.2565
3.061 24.2565
3.083 24.2585
3.105 24.2635
3.126 24.2695
3.146 24.2785
3.166 24.2885
3.184 24.3005
3.201 24.3145
3.217 24.3305
3.231 24.3475
3.243 24.3655
3.253 24.3855
3.262 24.4055
3.268 24.4265
3.273 24.4485
3.275 24.4705
3.275 24.4925
3.273 24.5145
3.268 24.5365
3.262 24.5575
3.253 24.5775
3.243 24.5975
3.231 24.6155
3.217 24.6325
3.201 24.6485
3.184 24.6625
3.166 24.6745
3.146 24.6845
3.126 24.6935
3.105 24.6995
3.083 24.7045
3.061 24.7065
3.039 24.7065
END
4 139 3 N 1176 1 1 100 100 0 0 0 Y
TLAYNAM B.Cu_thick INH
2.439 24.7065
2.417 24.7045
2.395 24.6995
2.374 24.6935
2.354 24.6845
2.334 24.6745
2.316 24.6625
2.299 24.6485
2.283 24.6325
2.269 24.6155
2.257 24.5975
2.247 24.5775
2.238 24.5575
2.232 24.5365
2.227 24.5145
2.225 24.4925
2.225 24.4705
2.227 24.4485
2.232 24.4265
2.238 24.4055
2.247 24.3855
2.257 24.3655
2.269 24.3475
2.283 24.3305
2.299 24.3145
2.316 24.3005
2.334 24.2885
2.354 24.2785
2.374 24.2695
2.395 24.2635
2.417 24.2585
2.439 24.2565
2.461 24.2565
2.475 24.2575
2.475 18.8485
2.476 18.8385
2.478 18.8285
2.484 18.8105
2.489 18.8015
2.495 18.7935
2.501 18.7865
2.501 18.7855
2.508 18.7785
2.515 18.7725
3.504 17.7835
3.51 17.7765
3.518 17.7705
3.527 17.7645
3.535 17.7595
3.553 17.7535
3.563 17.7515
3.573 17.7505
9.726 17.7505
9.725 17.7365
9.725 17.7145
9.727 17.6925
9.732 17.6705
9.738 17.6495
9.747 17.6295
9.757 17.6095
9.769 17.5915
9.783 17.5745
9.799 17.5585
9.816 17.5445
9.834 17.5325
9.854 17.5225
9.874 17.5135
9.895 17.5075
9.917 17.5025
9.939 17.5005
9.961 17.5005
9.983 17.5025
10.005 17.5075
10.026 17.5135
10.046 17.5225
10.066 17.5325
10.084 17.5445
10.101 17.5585
10.117 17.5745
10.131 17.5915
10.143 17.6095
10.153 17.6295
10.162 17.6495
10.168 17.6705
10.173 17.6925
10.175 17.7145
10.175 17.7365
10.173 17.7585
10.168 17.7805
10.162 17.8015
10.153 17.8215
10.143 17.8415
10.131 17.8595
10.117 17.8765
10.101 17.8925
10.084 17.9065
10.066 17.9185
10.046 17.9285
10.026 17.9375
10.005 17.9435
9.983 17.9485
9.961 17.9505
9.939 17.9505
9.917 17.9485
9.895 17.9435
9.875 17.9375
9.874 17.9375
9.868 17.9415
9.85 17.9475
9.84 17.9495
9.83 17.9505
3.62 17.9505
2.675 18.8945
2.675 24.3615
2.674 24.3715
2.672 24.3805
2.669 24.3905
2.666 24.3995
2.662 24.4055
2.668 24.4265
2.673 24.4485
2.675 24.4705
2.675 24.4925
2.673 24.5145
2.668 24.5365
2.662 24.5575
2.653 24.5775
2.643 24.5975
2.631 24.6155
2.617 24.6325
2.601 24.6485
2.584 24.6625
2.566 24.6745
2.546 24.6845
2.526 24.6935
2.505 24.6995
2.483 24.7045
2.461 24.7065
2.439 24.7065
END
END GEO
OPT
MAX 100
END OPT
VARSWP
ENABLED Y
FREQ Y AY ABS_ENTRY 0.1 40.0 -1 300 
END
END VARSWP
3DOPTIONS
GLOBAL 2
ALL 7 1
END 3DOPTIONS
```
